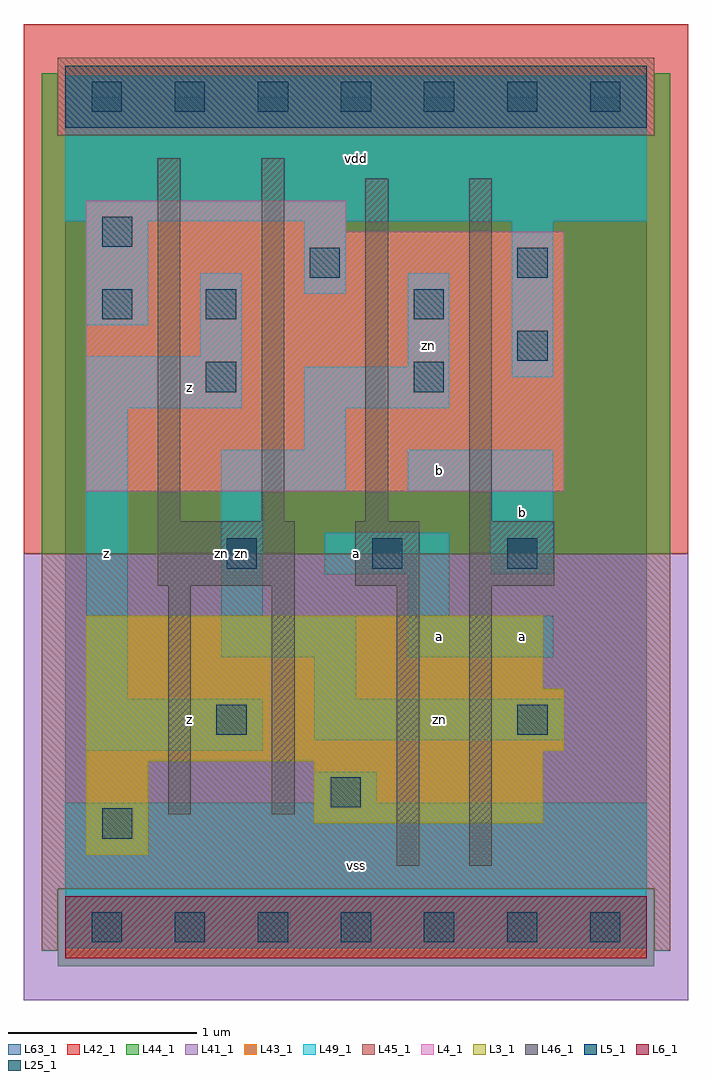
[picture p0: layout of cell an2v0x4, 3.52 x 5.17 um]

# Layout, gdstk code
import gdstk
lib = gdstk.Library(unit=1e-6, precision=1e-09)
def R(c, l, rs):  # rectangles x0, y0, x1, y1
    for r in rs: c.add(gdstk.rectangle(r[:2], r[2:], *l))
def A(c, l, x, y, w, h, nx, ny, dx, dy):  # array of equal rectangles
    R(c, l, [(x+i*dx, y+j*dy, x+i*dx+w, y+j*dy+h) for i in range(nx) for j in range(ny)])
L3_1 = (3, 1)
L4_1 = (4, 1)
L5_1 = (5, 1)
L6_1 = (6, 1)
L25_1 = (25, 1)
L41_1 = (41, 1)
L42_1 = (42, 1)
L43_1 = (43, 1)
L44_1 = (44, 1)
L45_1 = (45, 1)
L46_1 = (46, 1)
L49_1 = (49, 1)
L63_1 = (63, 1)

an2v0x4 = lib.new_cell('an2v0x4')
R(an2v0x4, L3_1, [(0.11,0.385,0.44,0.88), (1.32,0.55,2.53,0.88), (0.11,0.88,2.53,0.935), (0.11,0.935,2.64,1.265), (0.11,1.265,2.53,1.65)])
R(an2v0x4, L4_1, [(0.11,2.31,2.64,3.685), (0.11,3.685,1.485,3.85)])
R(an2v0x4, L5_1, [(0,4.235,3.08,4.565)])
R(an2v0x4, L6_1, [(0,-0.165,3.08,0.165)])
A(an2v0x4, L25_1, 0.14, -0.08, 0.16, 0.16, 7, 2, 0.44, 4.4)
R(an2v0x4, L25_1, [(0.195,0.47,0.355,0.63), (1.405,0.635,1.565,0.795), (0.8,1.02,0.96,1.18), (2.395,1.02,2.555,1.18), (0.855,1.9,1.015,2.06), (1.625,1.9,1.785,2.06), (2.34,1.9,2.5,2.06), (0.745,2.835,0.905,2.995), (1.845,2.835,2.005,2.995), (2.395,3,2.555,3.16), (0.195,3.22,0.355,3.38), (0.745,3.22,0.905,3.38), (1.845,3.22,2.005,3.38), (1.295,3.44,1.455,3.6), (2.395,3.44,2.555,3.6), (0.195,3.605,0.355,3.765)])
R(an2v0x4, L41_1, [(-0.22,-0.385,3.3,1.98)])
R(an2v0x4, L42_1, [(-0.22,1.98,3.3,4.785)])
R(an2v0x4, L43_1, [(0,-0.165,3.08,0.165), (0.11,0.385,0.44,0.88), (1.32,0.55,2.53,0.88), (0.11,0.88,2.53,0.935), (0.11,0.935,2.64,1.265), (0.11,1.265,2.53,1.65), (0.11,2.31,2.64,3.685), (0.11,3.685,1.485,3.85), (0,4.235,3.08,4.565)])
R(an2v0x4, L44_1, [(-0.04,-0.205,3.12,0.205), (-0.125,1.98,3.205,4.195), (-0.125,4.195,-0.04,4.525), (3.12,4.195,3.205,4.525)])
R(an2v0x4, L45_1, [(-0.125,-0.125,-0.04,0.205), (3.12,-0.125,3.205,0.205), (-0.125,0.205,3.205,1.98), (-0.04,4.195,3.12,4.605)])
R(an2v0x4, L46_1, [(1.755,0.325,1.875,1.81), (2.14,0.325,2.26,1.81), (0.545,0.6,0.665,1.81), (1.095,0.6,1.215,1.81), (0.49,1.81,1.215,2.15), (1.535,1.81,1.875,2.15), (2.14,1.81,2.59,2.15), (0.49,2.15,0.61,4.075), (1.04,2.15,1.16,4.075), (1.59,2.15,1.71,3.965), (2.14,2.15,2.26,3.965)])
R(an2v0x4, L49_1, [(0,-0.11,3.08,0.66), (1.32,0.66,1.65,0.825), (0.11,0.935,1.045,1.21), (1.32,0.99,2.64,1.21), (0.11,1.21,0.33,2.75), (1.32,1.21,1.54,1.43), (0.825,1.43,1.54,1.65), (1.815,1.43,2.585,1.65), (0.825,1.65,1.045,2.31), (1.815,1.65,2.035,1.87), (1.375,1.87,2.035,2.09), (2.255,1.87,2.585,2.31), (0.825,2.31,1.485,2.53), (1.815,2.31,2.585,2.53), (1.265,2.53,1.485,2.75), (0.11,2.75,0.935,3.025), (1.265,2.75,2.035,2.97), (2.365,2.915,2.585,3.74), (1.815,2.97,2.035,3.465), (0.715,3.025,0.935,3.465), (0.11,3.19,0.44,3.74), (1.265,3.355,1.485,3.74), (0,3.74,3.08,4.51)])
R(an2v0x4, L63_1, [(0,0,3.08,4.4)])
an2v0x4.add(gdstk.Label('zn', (0.825,1.98), layer=46, texttype=1))
an2v0x4.add(gdstk.Label('z', (0.22,1.98), layer=49, texttype=1))
an2v0x4.add(gdstk.Label('z', (0.66,1.1), layer=49, texttype=1))
an2v0x4.add(gdstk.Label('zn', (0.935,1.98), layer=49, texttype=1))
an2v0x4.add(gdstk.Label('z', (0.66,2.86), layer=49, texttype=1))
an2v0x4.add(gdstk.Label('vss', (1.54,0.33), layer=49, texttype=1))
an2v0x4.add(gdstk.Label('a', (1.54,1.98), layer=49, texttype=1))
an2v0x4.add(gdstk.Label('a', (1.98,1.54), layer=49, texttype=1))
an2v0x4.add(gdstk.Label('b', (1.98,2.42), layer=49, texttype=1))
an2v0x4.add(gdstk.Label('zn', (1.925,3.08), layer=49, texttype=1))
an2v0x4.add(gdstk.Label('vdd', (1.54,4.07), layer=49, texttype=1))
an2v0x4.add(gdstk.Label('zn', (1.98,1.1), layer=49, texttype=1))
an2v0x4.add(gdstk.Label('a', (2.42,1.54), layer=49, texttype=1))
an2v0x4.add(gdstk.Label('b', (2.42,2.2), layer=49, texttype=1))

lib.write_gds('an2v0x4.gds')
